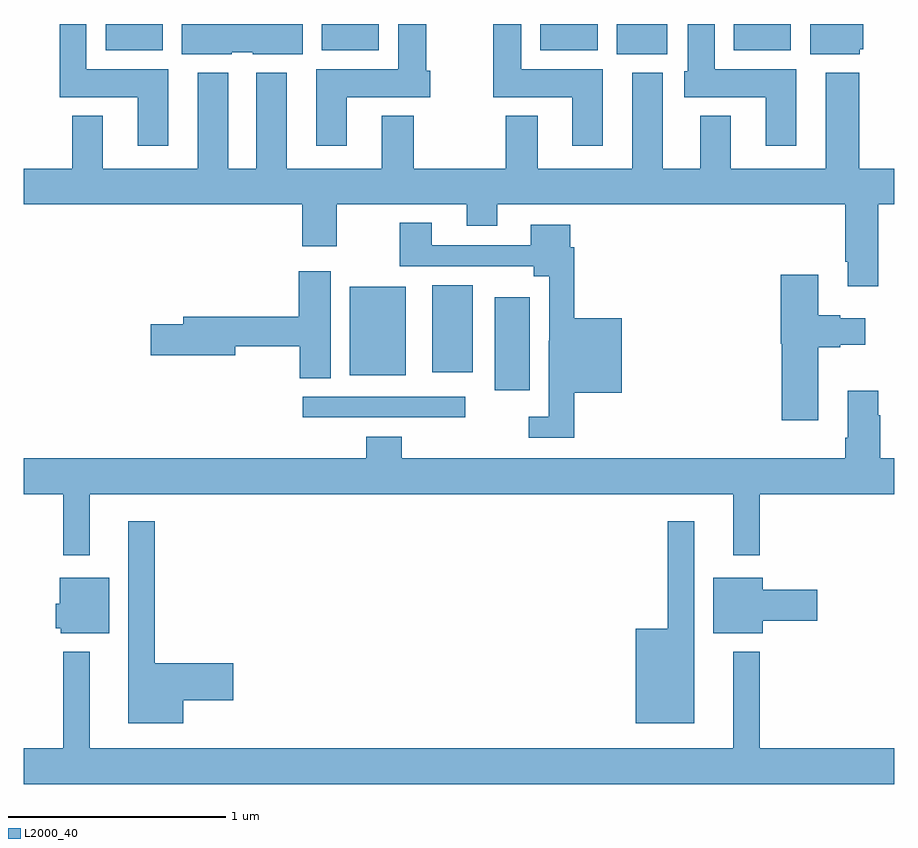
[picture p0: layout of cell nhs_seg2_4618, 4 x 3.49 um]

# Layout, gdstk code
import gdstk
lib = gdstk.Library(unit=1e-6, precision=1e-09)
def R(c, l, rs):  # rectangles x0, y0, x1, y1
    for r in rs: c.add(gdstk.rectangle(r[:2], r[2:], *l))
def P(c, l, *ps):  # polygons
    for p in ps: c.add(gdstk.Polygon(p, *l))
L2000_40 = (2000, 40)

nhs_seg2_4618 = lib.new_cell('nhs_seg2_4618')
R(nhs_seg2_4618, L2000_40, [(362.283,643.992,363.028,644.088), (363.164,644.118,363.325,644.545), (362.498,644.186,362.755,644.593), (362.876,644.201,363.064,644.599), (363.725,645.662,363.958,645.8), (361.376,645.68,361.639,645.8), (362.369,645.68,362.632,645.8), (363.374,645.68,363.637,645.8), (364.262,645.68,364.525,645.8)])
P(nhs_seg2_4618, L2000_40, [(362.485,645.464),(362.868,645.464),(362.868,645.585),(362.85,645.585),(362.85,645.8),(362.72,645.8),(362.72,645.592),(362.345,645.592),(362.345,645.24),(362.485,645.24)],
  [(361.663,645.592),(361.288,645.592),(361.288,645.8),(361.166,645.8),(361.166,645.464),(361.523,645.464),(361.523,645.24),(361.663,645.24)],
  [(363.661,645.592),(363.286,645.592),(363.286,645.8),(363.157,645.8),(363.157,645.464),(363.521,645.464),(363.521,645.24),(363.661,645.24)],
  [(361.956,645.671),(362.052,645.671),(362.052,645.662),(362.281,645.662),(362.281,645.8),(361.727,645.8),(361.727,645.662),(361.956,645.662)],
  [(364.549,645.592),(364.174,645.592),(364.174,645.8),(364.052,645.8),(364.052,645.582),(364.034,645.582),(364.034,645.464),(364.409,645.464),(364.409,645.24),(364.549,645.24)],
  [(364.842,645.684),(364.858,645.684),(364.858,645.798),(364.846,645.798),(364.846,645.8),(364.613,645.8),(364.613,645.662),(364.842,645.662)],
  [(362.793,645.379),(362.645,645.379),(362.645,645.136),(362.209,645.136),(362.209,645.577),(362.069,645.577),(362.069,645.136),(361.939,645.136),(361.939,645.577),(361.799,645.577),(361.799,645.136),(361.363,645.136),(361.363,645.379),(361.223,645.379),(361.223,645.136),(361,645.136),(361,644.972),(362.279,644.972),(362.279,644.778),(362.439,644.778),(362.439,644.972),(363.035,644.972),(363.035,644.873),(363.175,644.873),(363.175,644.972),(364.775,644.972),(364.775,644.707),(364.787,644.707),(364.787,644.595),(364.927,644.595),(364.927,644.972),(365,644.972),(365,645.136),(364.838,645.136),(364.838,645.577),(364.685,645.577),(364.685,645.136),(364.249,645.136),(364.249,645.379),(364.109,645.379),(364.109,645.136),(363.937,645.136),(363.937,645.577),(363.797,645.577),(363.797,645.136),(363.361,645.136),(363.361,645.379),(363.214,645.379),(363.214,645.136),(362.793,645.136)],
  [(363.53,644.105),(363.748,644.105),(363.748,644.449),(363.53,644.449),(363.53,644.774),(363.511,644.774),(363.511,644.878),(363.329,644.878),(363.329,644.784),(362.875,644.784),(362.875,644.887),(362.728,644.887),(362.728,644.688),(363.344,644.688),(363.344,644.642),(363.414,644.642),(363.414,644.345),(363.413,644.345),(363.413,643.995),(363.321,643.995),(363.321,643.899),(363.53,643.899)],
  [(362.41,644.665),(362.264,644.665),(362.264,644.456),(361.733,644.456),(361.733,644.42),(361.584,644.42),(361.584,644.278),(361.972,644.278),(361.972,644.32),(362.269,644.32),(362.269,644.173),(362.41,644.173)],
  [(364.651,644.315),(364.751,644.315),(364.751,644.327),(364.867,644.327),(364.867,644.449),(364.751,644.449),(364.751,644.462),(364.651,644.462),(364.651,644.647),(364.478,644.647),(364.478,644.331),(364.484,644.331),(364.484,643.98),(364.651,643.98)],
  [(361.303,643.64),(364.259,643.64),(364.259,643.359),(364.381,643.359),(364.381,643.64),(365,643.64),(365,643.804),(364.935,643.804),(364.935,644.003),(364.927,644.003),(364.927,644.116),(364.787,644.116),(364.787,643.9),(364.775,643.9),(364.775,643.804),(362.738,643.804),(362.738,643.903),(362.573,643.903),(362.573,643.804),(361,643.804),(361,643.64),(361.182,643.64),(361.182,643.359),(361.303,643.359)],
  [(364.081,643.516),(363.96,643.516),(363.96,643.021),(363.812,643.021),(363.812,642.587),(364.081,642.587)],
  [(361.732,642.692),(361.963,642.692),(361.963,642.863),(361.603,642.863),(361.603,643.516),(361.481,643.516),(361.481,642.587),(361.732,642.587)],
  [(361.393,643.255),(361.166,643.255),(361.166,643.137),(361.148,643.137),(361.148,643.023),(361.17,643.023),(361.17,643.001),(361.393,643.001)],
  [(364.396,643.058),(364.645,643.058),(364.645,643.2),(364.396,643.2),(364.396,643.255),(364.169,643.255),(364.169,643.001),(364.396,643.001)],
  [(365,642.472),(364.381,642.472),(364.381,642.916),(364.259,642.916),(364.259,642.472),(361.303,642.472),(361.303,642.916),(361.182,642.916),(361.182,642.472),(361,642.472),(361,642.308),(365,642.308)])

lib.write_gds('nhs_seg2_4618.gds')
